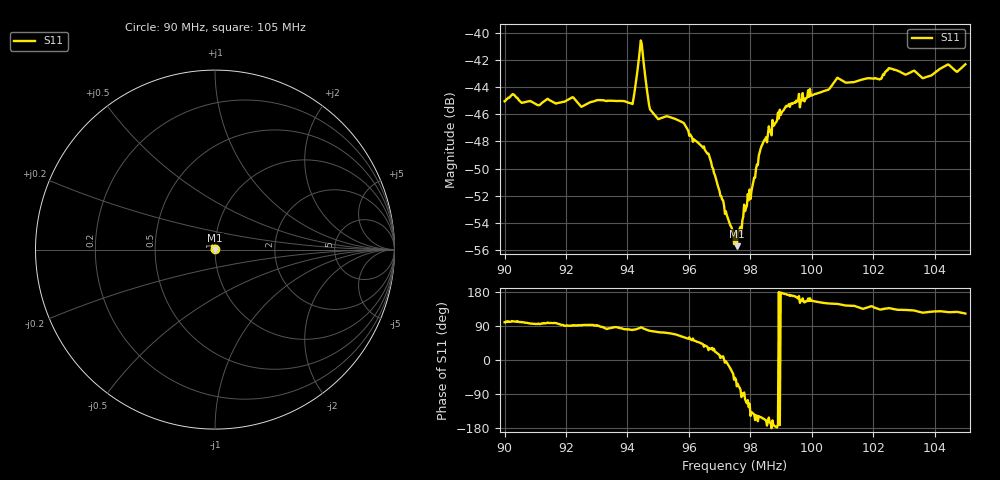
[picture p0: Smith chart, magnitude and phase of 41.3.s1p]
# HZ S RI R 50
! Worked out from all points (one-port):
!   505 points, 90 MHz to 105 MHz, reference 50 ohm
!   lowest |S11| = -55.7 dB at 97.56 MHz (marker M1), VSWR 1.00, Z = 50.1 - j0.154 ohm
!   |S11| at or under -10 dB: start of sweep to end of sweep
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9e7  -0.000941 0.00552
9.026786e7  -0.00122 0.00582
9.107143e7  -0.000469 0.0054
9.187501e7  -0.000225 0.00555
9.375001e7  0.000538 0.00559
9.416668e7  0.00101 0.00537
9.443454e7  0.000662 0.00934
9.449406e7  0.000856 0.00836
9.467263e7  0.00117 0.0056
9.479168e7  0.0012 0.00498
9.562502e7  0.00195 0.00436
9.663693e7  0.00323 0.00157
9.750002e7  0.00124 -0.00133
9.755955e7  0.000574 -0.00154
9.80655e7  -0.00208 -0.00175
9.839288e7  -0.00348 -0.00172
9.895836e7  -0.00516 -0.000737
9.937503e7  -0.00537 0.00105
1.00506e8  -0.00531 0.00312
1.008334e8  -0.0058 0.00361
1.0125e8  -0.00525 0.00394
1.022024e8  -0.00464 0.00487
1.025596e8  -0.00532 0.00512
1.03125e8  -0.00471 0.00527
1.036608e8  -0.00393 0.00558
1.044048e8  -0.00452 0.00613
1.047322e8  -0.00432 0.00574
1.05e8  -0.00412 0.00645
